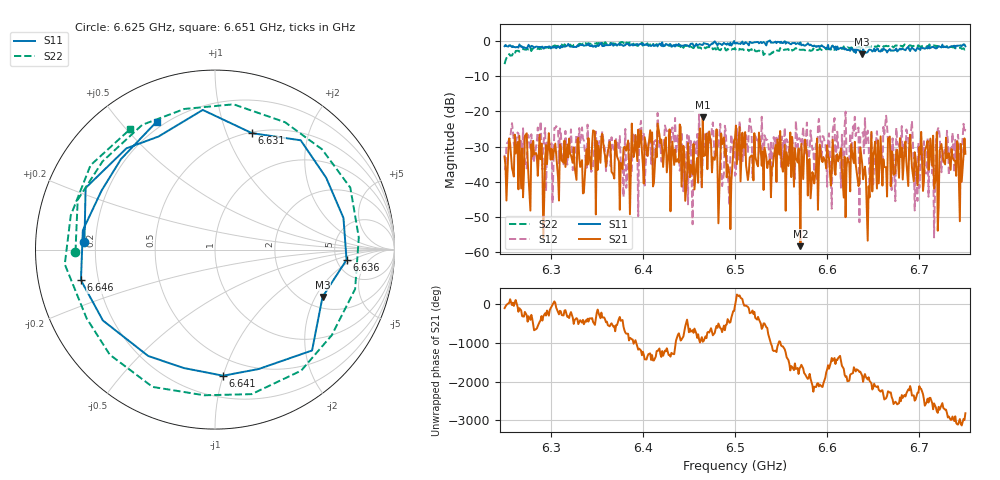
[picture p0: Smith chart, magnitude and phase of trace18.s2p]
# Hz S RI R 50
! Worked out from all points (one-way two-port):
!   401 points, 6.25 GHz to 6.75 GHz, reference 50 ohm
!   highest |S21| = -21.69 dB at 6.465 GHz (marker M1); lowest = -58.4 dB at 6.571 GHz (marker M2)
!   lowest |S11| = -3.7 dB at 6.638 GHz (marker M3), VSWR 4.79, Z = 124 - j115 ohm
!   |S11| at or under -10 dB: nowhere
!   |S22| runs from -6.5 to 0.0 dB; largest |S21 - S12| = 0.15
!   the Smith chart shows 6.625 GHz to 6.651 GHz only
!   S11 on the Smith chart (normalised r, x): 6.625 GHz: 0.16, +0.03; 6.631 GHz: 0.51, +1.23; 6.636 GHz: 6.17, -1.53; 6.641 GHz: 0.36, -1.00; 6.646 GHz: 0.13, -0.11; 6.651 GHz: 0.17, +0.63
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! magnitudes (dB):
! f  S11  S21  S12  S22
! 6.25 GHz  -1.4  -33.0  -32.4  -6.5
! 6.334 GHz  -1.1  -33.9  -24.6  -1.0
! 6.385 GHz  -1.2  -34.2  -28.6  -0.9
! 6.418 GHz  -0.7  -26.6  -30.5  -0.9
! 6.465 GHz  -1.1  -21.7  -31.8  -2.2
! 6.488 GHz  -0.5  -27.4  -37.7  -2.0
! 6.494 GHz  -1.1  -38.0  -46.8  -2.7
! 6.5 GHz  -0.7  -27.7  -38.3  -1.9
! 6.571 GHz  -0.3  -58.4  -28.0  -2.5
! 6.584 GHz  -1.4  -37.3  -31.0  -2.6
! 6.625 GHz  -2.8  -42.7  -26.2  -2.2
! 6.631 GHz  -3.3  -35.1  -27.0  -1.8
! 6.636 GHz  -2.7  -30.3  -27.3  -1.9
! 6.638 GHz  -3.7  -34.8  -26.2  -1.8
! 6.641 GHz  -3.0  -35.7  -21.9  -1.6
! 6.646 GHz  -2.3  -44.5  -41.1  -1.8
! 6.651 GHz  -2.1  -31.2  -35.6  -1.7
! 6.668 GHz  -2.2  -27.1  -28.5  -1.3
! 6.69 GHz  -2.8  -26.6  -31.4  -1.1
! 6.698 GHz  -1.8  -41.1  -45.5  -1.3
! 6.719 GHz  -2.0  -25.9  -29.9  -1.3
! 6.75 GHz  -1.5  -32.1  -25.0  -2.3
